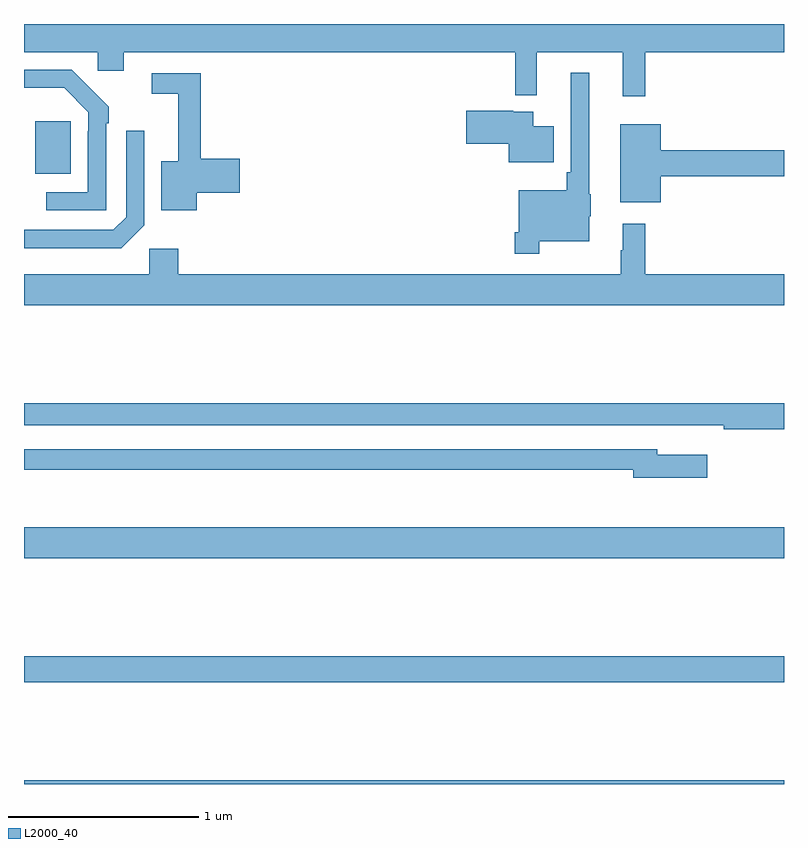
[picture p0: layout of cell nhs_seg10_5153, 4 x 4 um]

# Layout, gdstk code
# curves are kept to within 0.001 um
import gdstk
lib = gdstk.Library(unit=1e-6, precision=1e-09)
def R(c, l, rs):  # rectangles x0, y0, x1, y1
    for r in rs: c.add(gdstk.rectangle(r[:2], r[2:], *l))
def P(c, l, *ps):  # polygons
    for p in ps: c.add(gdstk.Polygon(p, *l))
L2000_40 = (2000, 40)

nhs_seg10_5153 = lib.new_cell('nhs_seg10_5153')
R(nhs_seg10_5153, L2000_40, [(411,1260.5,415,1260.52), (411,1261.036,415,1261.172), (411,1261.688,415,1261.852), (411.059,1263.713,411.247,1263.988)])
P(nhs_seg10_5153, L2000_40, [(414.269,1264.352),(415,1264.352),(415,1264.5),(411,1264.5),(411,1264.352),(411.387,1264.352),(411.387,1264.254),(411.526,1264.254),(411.526,1264.352),(413.586,1264.352),(413.586,1264.124),(413.699,1264.124),(413.699,1264.352),(414.152,1264.352),(414.152,1264.119),(414.269,1264.119)],
  [(411.432,1263.977),(411.447,1263.977),(411.447,1264.065),(411.25,1264.26),(411,1264.26),(411,1264.164),(411.211,1264.164),(411.339,1264.035),(411.339,1263.935),(411.336,1263.935),(411.336,1263.615),(411.117,1263.615),(411.117,1263.519),(411.432,1263.519)],
  [(413.713,1263.356),(413.974,1263.356),(413.974,1263.489),(413.983,1263.489),(413.983,1263.603),(413.974,1263.603),(413.974,1264.243),(413.877,1264.243),(413.877,1263.721),(413.857,1263.721),(413.857,1263.625),(413.604,1263.625),(413.604,1263.403),(413.584,1263.403),(413.584,1263.291),(413.713,1263.291)],
  [(411.91,1263.613),(412.135,1263.613),(412.135,1263.791),(411.929,1263.791),(411.929,1264.242),(411.672,1264.242),(411.672,1264.134),(411.812,1264.134),(411.812,1263.778),(411.722,1263.778),(411.722,1263.521),(411.91,1263.521)],
  [(413.788,1263.961),(413.68,1263.961),(413.68,1264.039),(413.576,1264.039),(413.576,1264.044),(413.328,1264.044),(413.328,1263.869),(413.552,1263.869),(413.552,1263.773),(413.788,1263.773)],
  [(414.352,1263.7),(415,1263.7),(415,1263.836),(414.352,1263.836),(414.352,1263.973),(414.137,1263.973),(414.137,1263.563),(414.352,1263.563)],
  [(411.633,1263.441),(411.633,1263.937),(411.537,1263.937),(411.537,1263.483),(411.471,1263.417),(411,1263.417),(411,1263.32),(411.512,1263.32)],
  [(415,1263.184),(414.269,1263.184),(414.269,1263.448),(414.152,1263.448),(414.152,1263.308),(414.141,1263.308),(414.141,1263.184),(411.812,1263.184),(411.812,1263.316),(411.66,1263.316),(411.66,1263.184),(411,1263.184),(411,1263.02),(415,1263.02)],
  [(415,1262.504),(411,1262.504),(411,1262.388),(414.43,1262.388),(414.43,1262.387),(414.682,1262.387),(414.682,1262.368),(415,1262.368)],
  [(414.595,1262.233),(414.334,1262.233),(414.334,1262.262),(411,1262.262),(411,1262.154),(414.206,1262.154),(414.206,1262.111),(414.595,1262.111)])

lib.write_gds('nhs_seg10_5153.gds')
